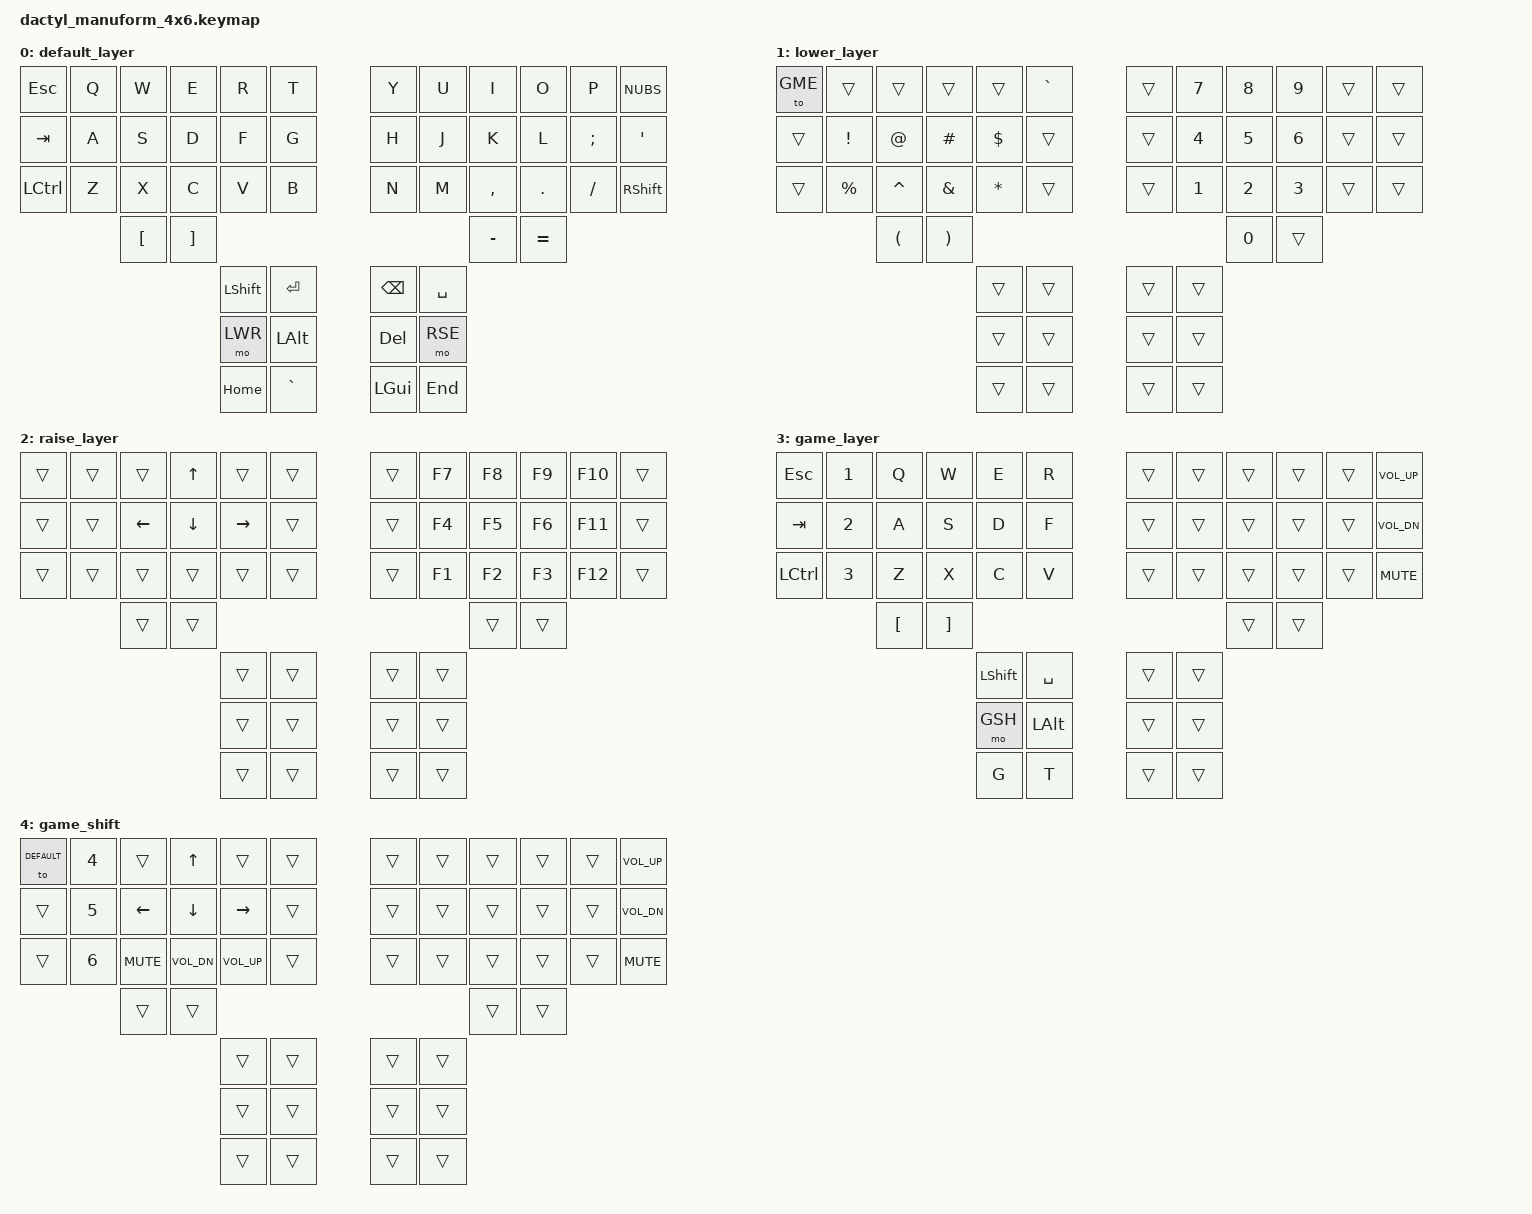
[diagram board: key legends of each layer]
#include <behaviors.dtsi>
#include <dt-bindings/zmk/keys.h>
#include <dt-bindings/zmk/bt.h>
#include <dt-bindings/zmk/outputs.h>

#define DEFAULT 0
#define LWR 1
#define RSE 2
#define GME 3
#define GSH 4

/ {
    keymap {
        compatible = "zmk,keymap";

        default_layer {
            bindings = <
                &kp ESC   &kp Q  &kp W  &kp E  &kp R  &kp T               &kp Y  &kp U  &kp I     &kp O   &kp P    &kp NUBS
                &kp TAB   &kp A  &kp S  &kp D  &kp F  &kp G               &kp H  &kp J  &kp K     &kp L   &kp SEMI &kp SQT
                &kp LCTRL &kp Z  &kp X  &kp C  &kp V  &kp B               &kp N  &kp M  &kp COMMA &kp DOT &kp FSLH &kp RSHIFT
                                 &kp LBKT &kp RBKT                                      &kp MINUS &kp EQUAL
                                            &kp LSHFT  &kp RETURN         &kp BSPC  &kp SPACE
                                            &mo LWR    &kp LALT           &kp DEL   &mo RSE
                                            &kp HOME   &kp GRAVE          &kp LGUI  &kp END
            >;
        };

        lower_layer {
            bindings = <
                &to GME &trans    &trans    &trans   &trans    &kp GRAVE           &trans &kp N7 &kp N8 &kp N9 &trans &trans
                &trans  &kp EXCL  &kp AT    &kp HASH &kp DLLR  &trans              &trans &kp N4 &kp N5 &kp N6 &trans &trans
                &trans  &kp PRCNT &kp CARET &kp AMPS &kp STAR  &trans              &trans &kp N1 &kp N2 &kp N3 &trans &trans
                                  &kp LPAR  &kp RPAR                                              &kp N0 &trans
                                                     &trans &trans                 &trans &trans
                                                     &trans &trans                 &trans &trans
                                                     &trans &trans                 &trans &trans
            >;
        };

        raise_layer {
            bindings = <
                &trans  &trans &trans   &kp UP   &trans    &trans                &trans &kp F7 &kp F8 &kp F9 &kp F10 &trans
                &trans  &trans &kp LEFT &kp DOWN &kp RIGHT &trans                &trans &kp F4 &kp F5 &kp F6 &kp F11 &trans
                &trans  &trans &trans   &trans   &trans    &trans                &trans &kp F1 &kp F2 &kp F3 &kp F12 &trans
                               &trans &trans                                                   &trans &trans
                                             &trans &trans                       &trans &trans
                                             &trans  &trans                      &trans &trans
                                             &trans  &trans                      &trans &trans
            >;
        };

        game_layer {
            bindings = <
                &kp ESC   &kp N1  &kp Q    &kp W  &kp E  &kp R                 &trans &trans &trans &trans &trans &kp K_VOL_UP
                &kp TAB   &kp N2  &kp A    &kp S  &kp D  &kp F                 &trans &trans &trans &trans &trans &kp K_VOL_DN
                &kp LCTRL &kp N3  &kp Z    &kp X  &kp C  &kp V                 &trans &trans &trans &trans &trans &kp K_MUTE
                                    &kp LBKT &kp RBKT                                        &trans &trans
                                             &kp LSHFT &kp SPACE                  &trans &trans
                                             &mo GSH   &kp LALT                   &trans &trans
                                             &kp G     &kp T                      &trans &trans
            >;
        };

        game_shift {
            bindings = <
                &to DEFAULT &kp N4 &trans     &kp UP   &trans    &trans                         &trans &trans &trans &trans &trans &kp K_VOL_UP
                &trans      &kp N5 &kp LEFT   &kp DOWN &kp RIGHT &trans                         &trans &trans &trans &trans &trans &kp K_VOL_DN
                &trans      &kp N6 &kp K_MUTE &kp K_VOL_DN   &kp K_VOL_UP &trans                &trans &trans &trans &trans &trans &kp K_MUTE
                                   &trans     &trans                                                          &trans &trans
                                             &trans &trans                                       &trans &trans
                                             &trans  &trans                                      &trans &trans
                                             &trans  &trans                                      &trans &trans
            >;
        };

    };
};
